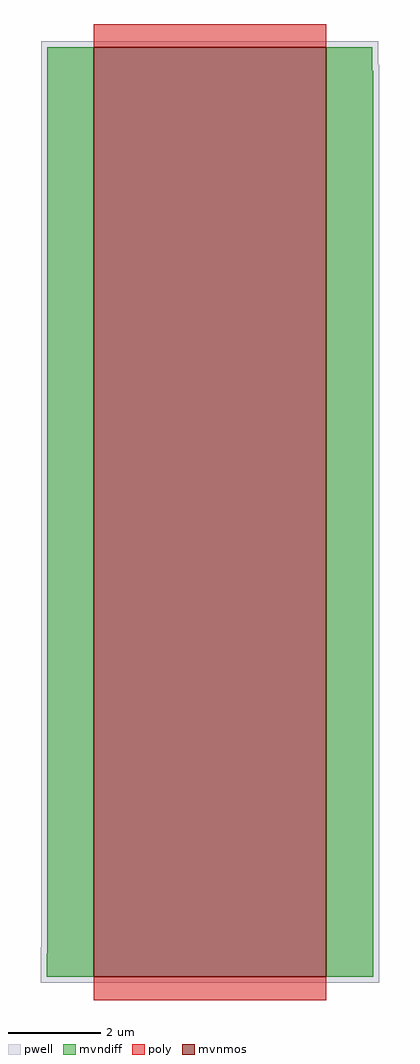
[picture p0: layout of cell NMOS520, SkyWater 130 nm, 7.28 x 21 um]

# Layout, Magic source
magic
tech sky130A
<< pwell >>
rect -113 1962 612 2013
rect -113 63 614 1962
rect -114 -13 614 63
<< mvnmos >>
rect 0 0 500 2000
<< mvndiff >>
rect -100 50 0 2000
rect -101 0 0 50
rect 500 1949 599 2000
rect 500 0 601 1949
<< poly >>
rect 0 2000 500 2050
rect 0 -50 500 0
<< end >>
